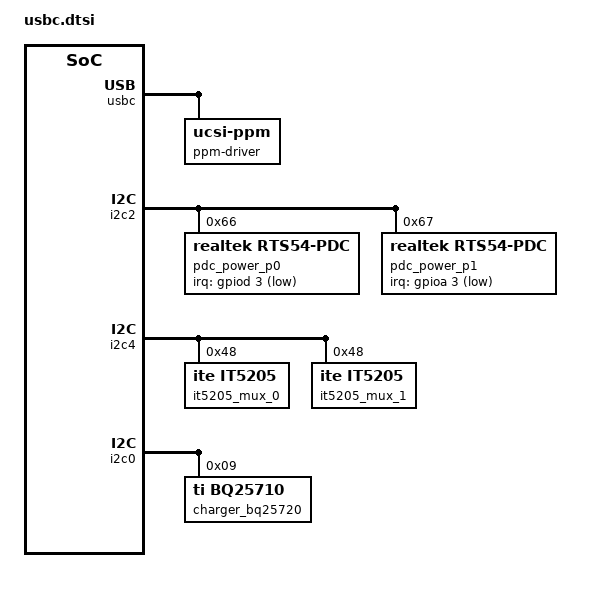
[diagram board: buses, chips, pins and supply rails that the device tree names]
/* Copyright 2025 The ChromiumOS Authors
 * Use of this source code is governed by a BSD-style license that can be
 * found in the LICENSE file.
 */

#include <usbc-policy.dtsi>

/ {
	usbc {
		#address-cells = <1>;
		#size-cells = <0>;

		usbc_port0: port0@0 {
			compatible = "named-usbc-port";
			reg = <0>;
			chg = <&charger_bq25720>;
			pdc = <&pdc_power_p0>;
			policy = <&cros_policy>;
			usb-mux-chain-0 {
				compatible = "cros-ec,usb-mux-chain";
				usb-muxes = <&it5205_mux_0>;
			};
		};

		usbc_port1: port1@1 {
			compatible = "named-usbc-port";
			reg = <1>;
			pdc = <&pdc_power_p1>;
			policy = <&cros_policy>;
			usb-mux-chain-1 {
				compatible = "cros-ec,usb-mux-chain";
				usb-muxes = <&it5205_mux_1>;
			};
		};

		ppm-driver {
			compatible = "ucsi-ppm";
		};
	};
};

&i2c2 {
	pdc_power_p0: rts54-pdc@66 {
		compatible = "realtek,rts54-pdc";
		reg = <0x66>;
		irq-gpios = <&gpiod 3 GPIO_ACTIVE_LOW>;
		ccd;
	};
	pdc_power_p1: rts54-pdc@67 {
		compatible = "realtek,rts54-pdc";
		reg = <0x67>;
		irq-gpios = <&gpioa 3 GPIO_ACTIVE_LOW>;
	};
};

&i2c4 {
	it5205_mux_0: it5205-mux-0@48 {
		compatible = "ite,it5205";
		reg = <0x48>;
	};

	it5205_mux_1: it5205-mux-1@58 {
		compatible = "ite,it5205";
		reg = <0x48>;
	};
};

&i2c0 {
	charger_bq25720: bq25720@9 {
		compatible = "ti,bq25710";
		status = "okay";
		reg = <0x9>;
	};
};

